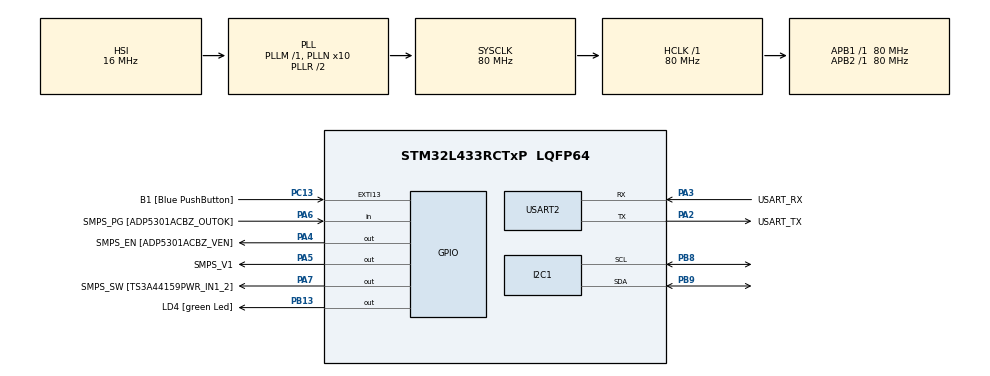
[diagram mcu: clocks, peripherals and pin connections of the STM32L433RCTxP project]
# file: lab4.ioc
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I2C1.Timing=0x10D19CE4
Mcu.Family=STM32L4
Mcu.Name=STM32L433RCTxP
Mcu.Package=LQFP64
NVIC.PriorityGroup=NVIC_PRIORITYGROUP_4
NVIC.TIM6_DAC_IRQn=true\:0\:0\:false\:false\:true\:true\:true\:true
NVIC.USART2_IRQn=true\:0\:0\:false\:false\:true\:true\:true\:true
PA13\ (JTMS-SWDIO).GPIO_Label=TMS
PA13\ (JTMS-SWDIO).Mode=Serial_Wire
PA13\ (JTMS-SWDIO).Signal=SYS_JTMS-SWDIO
PA14\ (JTCK-SWCLK).GPIO_Label=TCK
PA14\ (JTCK-SWCLK).Mode=Serial_Wire
PA14\ (JTCK-SWCLK).Signal=SYS_JTCK-SWCLK
PA2.GPIO_Label=USART_TX
PA2.GPIO_Mode=GPIO_MODE_AF_PP
PA2.GPIO_PuPd=GPIO_NOPULL
PA2.GPIO_Speed=GPIO_SPEED_FREQ_VERY_HIGH
PA2.Mode=Asynchronous
PA2.Signal=USART2_TX
PA3.GPIO_Label=USART_RX
PA3.GPIO_Mode=GPIO_MODE_AF_PP
PA3.GPIO_PuPd=GPIO_NOPULL
PA3.GPIO_Speed=GPIO_SPEED_FREQ_VERY_HIGH
PA3.Mode=Asynchronous
PA3.Signal=USART2_RX
PA4.GPIO_Label=SMPS_EN [ADP5301ACBZ_VEN]
PA4.Signal=GPIO_Output
PA5.GPIO_Label=SMPS_V1
PA5.GPIO_ModeDefaultOutputPP=GPIO_MODE_OUTPUT_PP
PA5.GPIO_PuPd=GPIO_NOPULL
PA5.GPIO_Speed=GPIO_SPEED_FREQ_LOW
PA5.Signal=GPIO_Output
PA6.GPIO_Label=SMPS_PG [ADP5301ACBZ_OUTOK]
PA6.GPIO_PuPd=GPIO_PULLUP
PA6.Signal=GPIO_Input
PA7.GPIO_Label=SMPS_SW [TS3A44159PWR_IN1_2]
PA7.Signal=GPIO_Output
PB13.GPIO_Label=LD4 [green Led]
PB13.Signal=GPIO_Output
PB3\ (JTDO-TRACESWO).GPIO_Label=SWO
PB3\ (JTDO-TRACESWO).Signal=SYS_JTDO-SWO
PB8.Mode=I2C
PB8.Signal=I2C1_SCL
PB9.Mode=I2C
PB9.Signal=I2C1_SDA
PC13.GPIO_Label=B1 [Blue PushButton]
PC13.GPIO_ModeDefaultEXTI=GPIO_MODE_IT_FALLING
PC13.GPIO_PuPd=GPIO_NOPULL
PC13.Signal=GPXTI13
PC14-OSC32_IN\ (PC14).Mode=LSE-External-Oscillator
PC14-OSC32_IN\ (PC14).Signal=RCC_OSC32_IN
PC15-OSC32_OUT\ (PC15).Mode=LSE-External-Oscillator
PC15-OSC32_OUT\ (PC15).Signal=RCC_OSC32_OUT
PH0-OSC_IN\ (PH0).GPIO_Label=MCO
PH0-OSC_IN\ (PH0).Mode=HSE-External-Clock-Source
PH0-OSC_IN\ (PH0).Signal=RCC_OSC_IN
PH1-OSC_OUT\ (PH1).Signal=RCC_OSC_OUT
ProjectManager.HeapSize=0x200
ProjectManager.StackSize=0x400
ProjectManager.TargetToolchain=STM32CubeIDE
RCC.ADCFreq_Value=64000000
RCC.AHBFreq_Value=80000000
RCC.APB1Freq_Value=80000000
RCC.APB1TimFreq_Value=80000000
RCC.APB2Freq_Value=80000000
RCC.APB2TimFreq_Value=80000000
RCC.CortexFreq_Value=80000000
RCC.HCLKFreq_Value=80000000
RCC.HSE_VALUE=8000000
RCC.HSI48_VALUE=48000000
RCC.HSI_VALUE=16000000
RCC.MSI_VALUE=4000000
RCC.PLLN=10
RCC.PLLSourceVirtual=RCC_PLLSOURCE_HSI
RCC.PREFETCH_ENABLE=1
RCC.SYSCLKFreq_VALUE=80000000
RCC.SYSCLKSource=RCC_SYSCLKSOURCE_PLLCLK
RCC.USBFreq_Value=64000000
RCC.VCOOutputFreq_Value=160000000
TIM2.Period=4294967295
TIM2.Prescaler=79
TIM6.Period=1999
TIM6.Prescaler=19999
USART2.VirtualMode-Asynchronous=VM_ASYNC
VP_TIM2_VS_ClockSourceINT.Mode=Internal
VP_TIM6_VS_ClockSourceINT.Mode=Enable_Timer
board=NUCLEO-L433RC-P

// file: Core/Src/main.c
/* USER CODE BEGIN Header */
/**
  ******************************************************************************
  * @file           : main.c
  * @brief          : Main program body
  ******************************************************************************
  * @attention
  *
  * Copyright (c) 2025 STMicroelectronics.
  * All rights reserved.
  *
  * This software is licensed under terms that can be found in the LICENSE file
  * in the root directory of this software component.
  * If no LICENSE file comes with this software, it is provided AS-IS.
  *
  ******************************************************************************
  */
/* USER CODE END Header */
#include "main.h"

/* USER CODE BEGIN Includes */
#include "../Inc/lcd.h"
#include <stdio.h>
/* USER CODE END Includes */

/* USER CODE BEGIN PTD */
uint32_t ticks = 0;
uint32_t time = 0;
int elapsed = 0;

/* USER CODE END PTD */

I2C_HandleTypeDef hi2c1;

TIM_HandleTypeDef htim2;
TIM_HandleTypeDef htim6;

UART_HandleTypeDef huart2;

/* USER CODE BEGIN PV */
void uart_print(const char* str){
  HAL_UART_Transmit(&huart2, (uint8_t *) str, strlen(str), 255);
}

void cd_set(struct clock_data* pcd, uint8_t hrs, uint8_t min, uint8_t sec){
  pcd->time = hrs*3600 + min * 60 + sec;
  pcd->tick = 0;

  pcd->hrs = hrs;
  pcd->min = min;
  pcd->sec = sec;
}

void cd_tick(struct clock_data *pcd){
  pcd->tick++;
  if(pcd->tick%2==0){
      pcd->time ++;
g
    if (pcd->time >= 86400){
      pcd->time = 0;
    }
  }

  int h = pcd->time/3600;
  int m = (pcd->time-h*3600)/60;
  int s = (pcd->time-h*3600-m*60);

  pcd->hrs = h;
  pcd->min = m;
  pcd->sec = s;
}

void uart_print_cd(UART_HandleTypeDef * huart,
                   struct clock_data * pcd) {
  char str[256];
  sprintf(str,"\r%02d:%02d:%02d",pcd->hrs, pcd->min, pcd->sec);
  uart_print(str);

}

void HAL_TIM_PeriodElapsedCallback(TIM_HandleTypeDef *htim){

  // 2 Hz, each tick is 1/2 second.
  // when the ticks are even a second has passed

  if(htim->Instance == TIM6){
    elapsed = 1;
  }
}
int last_pressed = 0;

void wait_for_button_press() {
    while (1) {
        int button_pressed = HAL_GPIO_ReadPin(B1_GPIO_Port, B1_Pin);

        if (!button_pressed && last_pressed) {
            // Button was pressed, now released
            last_pressed = button_pressed;
            break;
        }

        last_pressed = button_pressed;
    }
}

/* USER CODE END PV */

void SystemClock_Config(void);
static void MX_GPIO_Init(void);
static void MX_USART2_UART_Init(void);
static void MX_TIM6_Init(void);
static void MX_I2C1_Init(void);
static void MX_TIM2_Init(void);

int main(void)
{

  /* MCU Configuration--------------------------------------------------------*/

  /* Reset of all peripherals, Initializes the Flash interface and the Systick. */
  HAL_Init();

  /* Configure the system clock */
  SystemClock_Config();

  /* Initialize all configured peripherals */
  MX_GPIO_Init();
  MX_USART2_UART_Init();
  MX_TIM6_Init();
  MX_I2C1_Init();
  MX_TIM2_Init();
  /* USER CODE BEGIN 2 */

  struct clock_data clock;
  cd_set(&clock, 23, 59, 45);

  HAL_TIM_Base_Start_IT(&htim6);
  TextLCDType lcd;
  TextLCD_Init(&lcd,&hi2c1, 0x4E);

  char c = 0;
  const char ASCII_CAPITAL_OFFSET = 'a';
  const char LETTERS_TOTAL = 'Z'-'A';

  /* USER CODE END 2 */

  /* Infinite loop */
  while (1)
  {

    /* USER CODE BEGIN 3 */
    #if 1
    //wait_for_button_press();
    #endif

    if(elapsed){
      if (c < 6){
         TextLCD_Position(&lcd, c, 0);
         TextLCD_PutChar(&lcd, c+ASCII_CAPITAL_OFFSET);
         c = (c+1) % LETTERS_TOTAL;
      }
      elapsed = 0;
      cd_tick(&clock);
      uart_print_cd(&huart2, &clock);
      char str[256];
      sprintf(str,"%02d:%02d:%02d",clock.hrs, clock.min, clock.sec);
      TextLCD_Position(&lcd, 8, 1);
      TextLCD_PutStr(&lcd, str);

    }
    //HAL_Delay(1000);

  }
  /* USER CODE END 3 */
}

void SystemClock_Config(void)
{
  RCC_OscInitTypeDef RCC_OscInitStruct = {0};
  RCC_ClkInitTypeDef RCC_ClkInitStruct = {0};

  /** Configure the main internal regulator output voltage
  */
  if (HAL_PWREx_ControlVoltageScaling(PWR_REGULATOR_VOLTAGE_SCALE1) != HAL_OK)
  {
    Error_Handler();
  }

  /** Initializes the RCC Oscillators according to the specified parameters
  * in the RCC_OscInitTypeDef structure.
  */
  RCC_OscInitStruct.OscillatorType = RCC_OSCILLATORTYPE_HSI;
  RCC_OscInitStruct.HSIState = RCC_HSI_ON;
  RCC_OscInitStruct.HSICalibrationValue = RCC_HSICALIBRATION_DEFAULT;
  RCC_OscInitStruct.PLL.PLLState = RCC_PLL_ON;
  RCC_OscInitStruct.PLL.PLLSource = RCC_PLLSOURCE_HSI;
  RCC_OscInitStruct.PLL.PLLM = 1;
  RCC_OscInitStruct.PLL.PLLN = 10;
  RCC_OscInitStruct.PLL.PLLP = RCC_PLLP_DIV7;
  RCC_OscInitStruct.PLL.PLLQ = RCC_PLLQ_DIV2;
  RCC_OscInitStruct.PLL.PLLR = RCC_PLLR_DIV2;
  if (HAL_RCC_OscConfig(&RCC_OscInitStruct) != HAL_OK)
  {
    Error_Handler();
  }

  /** Initializes the CPU, AHB and APB buses clocks
  */
  RCC_ClkInitStruct.ClockType = RCC_CLOCKTYPE_HCLK|RCC_CLOCKTYPE_SYSCLK
                              |RCC_CLOCKTYPE_PCLK1|RCC_CLOCKTYPE_PCLK2;
  RCC_ClkInitStruct.SYSCLKSource = RCC_SYSCLKSOURCE_PLLCLK;
  RCC_ClkInitStruct.AHBCLKDivider = RCC_SYSCLK_DIV1;
  RCC_ClkInitStruct.APB1CLKDivider = RCC_HCLK_DIV1;
  RCC_ClkInitStruct.APB2CLKDivider = RCC_HCLK_DIV1;

  if (HAL_RCC_ClockConfig(&RCC_ClkInitStruct, FLASH_LATENCY_4) != HAL_OK)
  {
    Error_Handler();
  }
}

static void MX_I2C1_Init(void)
{

  hi2c1.Instance = I2C1;
  hi2c1.Init.Timing = 0x10D19CE4;
  hi2c1.Init.OwnAddress1 = 0;
  hi2c1.Init.AddressingMode = I2C_ADDRESSINGMODE_7BIT;
  hi2c1.Init.DualAddressMode = I2C_DUALADDRESS_DISABLE;
  hi2c1.Init.OwnAddress2 = 0;
  hi2c1.Init.OwnAddress2Masks = I2C_OA2_NOMASK;
  hi2c1.Init.GeneralCallMode = I2C_GENERALCALL_DISABLE;
  hi2c1.Init.NoStretchMode = I2C_NOSTRETCH_DISABLE;
  if (HAL_I2C_Init(&hi2c1) != HAL_OK)
  {
    Error_Handler();
  }

  /** Configure Analogue filter
  */
  if (HAL_I2CEx_ConfigAnalogFilter(&hi2c1, I2C_ANALOGFILTER_ENABLE) != HAL_OK)
  {
    Error_Handler();
  }

  /** Configure Digital filter
  */
  if (HAL_I2CEx_ConfigDigitalFilter(&hi2c1, 0) != HAL_OK)
  {
    Error_Handler();
  }

}

static void MX_TIM2_Init(void)
{

  TIM_ClockConfigTypeDef sClockSourceConfig = {0};
  TIM_MasterConfigTypeDef sMasterConfig = {0};

  htim2.Instance = TIM2;
  htim2.Init.Prescaler = 79;
  htim2.Init.CounterMode = TIM_COUNTERMODE_UP;
  htim2.Init.Period = 4294967295;
  htim2.Init.ClockDivision = TIM_CLOCKDIVISION_DIV1;
  htim2.Init.AutoReloadPreload = TIM_AUTORELOAD_PRELOAD_DISABLE;
  if (HAL_TIM_Base_Init(&htim2) != HAL_OK)
  {
    Error_Handler();
  }
  sClockSourceConfig.ClockSource = TIM_CLOCKSOURCE_INTERNAL;
  if (HAL_TIM_ConfigClockSource(&htim2, &sClockSourceConfig) != HAL_OK)
  {
    Error_Handler();
  }
  sMasterConfig.MasterOutputTrigger = TIM_TRGO_RESET;
  sMasterConfig.MasterSlaveMode = TIM_MASTERSLAVEMODE_DISABLE;
  if (HAL_TIMEx_MasterConfigSynchronization(&htim2, &sMasterConfig) != HAL_OK)
  {
    Error_Handler();
  }

}

static void MX_TIM6_Init(void)
{

  TIM_MasterConfigTypeDef sMasterConfig = {0};

  htim6.Instance = TIM6;
  htim6.Init.Prescaler = 19999;
  htim6.Init.CounterMode = TIM_COUNTERMODE_UP;
  htim6.Init.Period = 1999;
  htim6.Init.AutoReloadPreload = TIM_AUTORELOAD_PRELOAD_DISABLE;
  if (HAL_TIM_Base_Init(&htim6) != HAL_OK)
  {
    Error_Handler();
  }
  sMasterConfig.MasterOutputTrigger = TIM_TRGO_RESET;
  sMasterConfig.MasterSlaveMode = TIM_MASTERSLAVEMODE_DISABLE;
  if (HAL_TIMEx_MasterConfigSynchronization(&htim6, &sMasterConfig) != HAL_OK)
  {
    Error_Handler();
  }

}

static void MX_USART2_UART_Init(void)
{

  huart2.Instance = USART2;
  huart2.Init.BaudRate = 115200;
  huart2.Init.WordLength = UART_WORDLENGTH_8B;
  huart2.Init.StopBits = UART_STOPBITS_1;
  huart2.Init.Parity = UART_PARITY_NONE;
  huart2.Init.Mode = UART_MODE_TX_RX;
  huart2.Init.HwFlowCtl = UART_HWCONTROL_NONE;
  huart2.Init.OverSampling = UART_OVERSAMPLING_16;
  huart2.Init.OneBitSampling = UART_ONE_BIT_SAMPLE_DISABLE;
  huart2.AdvancedInit.AdvFeatureInit = UART_ADVFEATURE_NO_INIT;
  if (HAL_UART_Init(&huart2) != HAL_OK)
  {
    Error_Handler();
  }

}

static void MX_GPIO_Init(void)
{
  GPIO_InitTypeDef GPIO_InitStruct = {0};

  /* GPIO Ports Clock Enable */
  __HAL_RCC_GPIOC_CLK_ENABLE();
  __HAL_RCC_GPIOH_CLK_ENABLE();
  __HAL_RCC_GPIOA_CLK_ENABLE();
  __HAL_RCC_GPIOB_CLK_ENABLE();

  /*Configure GPIO pin Output Level */
  HAL_GPIO_WritePin(GPIOA, SMPS_EN_Pin|SMPS_V1_Pin|SMPS_SW_Pin, GPIO_PIN_RESET);

  /*Configure GPIO pin Output Level */
  HAL_GPIO_WritePin(LD4_GPIO_Port, LD4_Pin, GPIO_PIN_RESET);

  /*Configure GPIO pin : B1_Pin */
  GPIO_InitStruct.Pin = B1_Pin;
  GPIO_InitStruct.Mode = GPIO_MODE_IT_FALLING;
  GPIO_InitStruct.Pull = GPIO_NOPULL;
  HAL_GPIO_Init(B1_GPIO_Port, &GPIO_InitStruct);

  /*Configure GPIO pins : SMPS_EN_Pin SMPS_V1_Pin SMPS_SW_Pin */
  GPIO_InitStruct.Pin = SMPS_EN_Pin|SMPS_V1_Pin|SMPS_SW_Pin;
  GPIO_InitStruct.Mode = GPIO_MODE_OUTPUT_PP;
  GPIO_InitStruct.Pull = GPIO_NOPULL;
  GPIO_InitStruct.Speed = GPIO_SPEED_FREQ_LOW;
  HAL_GPIO_Init(GPIOA, &GPIO_InitStruct);

  /*Configure GPIO pin : SMPS_PG_Pin */
  GPIO_InitStruct.Pin = SMPS_PG_Pin;
  GPIO_InitStruct.Mode = GPIO_MODE_INPUT;
  GPIO_InitStruct.Pull = GPIO_PULLUP;
  HAL_GPIO_Init(SMPS_PG_GPIO_Port, &GPIO_InitStruct);

  /*Configure GPIO pin : LD4_Pin */
  GPIO_InitStruct.Pin = LD4_Pin;
  GPIO_InitStruct.Mode = GPIO_MODE_OUTPUT_PP;
  GPIO_InitStruct.Pull = GPIO_NOPULL;
  GPIO_InitStruct.Speed = GPIO_SPEED_FREQ_LOW;
  HAL_GPIO_Init(LD4_GPIO_Port, &GPIO_InitStruct);

}

void Error_Handler(void)
{
  __disable_irq();
  while (1)
  {
  }
}
